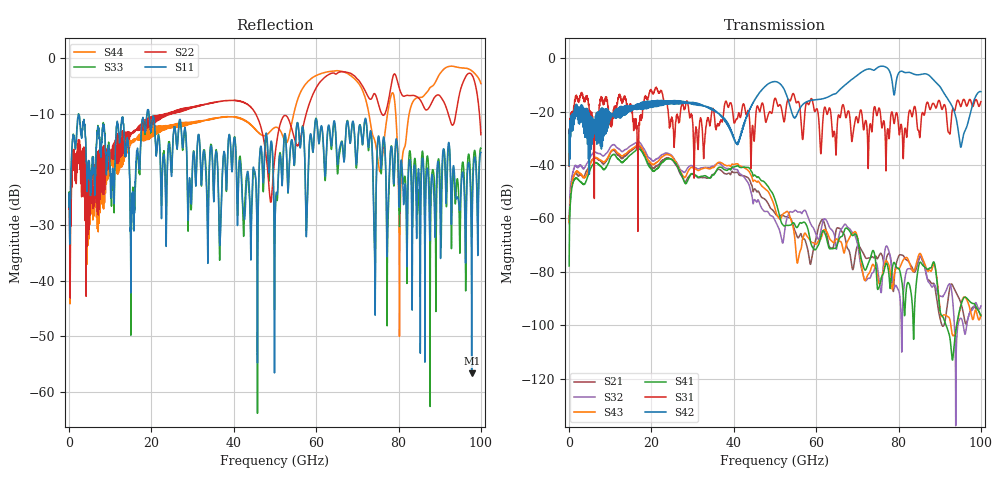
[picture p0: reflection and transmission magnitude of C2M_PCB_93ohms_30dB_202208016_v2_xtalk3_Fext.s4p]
! Info: Touchstone file created by Circ.  Input file=Intel_C2M_200G_13p5in_202208016_staggered.circ
# Hz S RI R 50
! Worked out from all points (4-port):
!   10000 points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, 10 MHz to 100 GHz, reference 50 ohm
!   strongest paths, dB at 10 MHz, 25.01 GHz, 50.01 GHz, 75.01 GHz, 100 GHz:
!     S42: -40.2, -16.8, -8.7, -3.4, -12.5
!     S31: -40.4, -23.2, -15.0, -19.7, -16.2
!     S41: -77.8, -38.0, -52.9, -86.5, -96.4
!     S43: -61.4, -36.8, -56.2, -82.7, -96.1
!     S32: -62.0, -36.5, -60.8, -79.6, -92.7
!     S21: -59.4, -38.0, -58.0, -74.8, -96.7
!   lowest |S11| = -56.6 dB at 97.76 GHz (marker M1), VSWR 1.00, Z = 50.1 - j0.0533 ohm
!   |S11| at or under -10 dB: start of sweep to 18.94 GHz; 19.37 GHz to end of sweep
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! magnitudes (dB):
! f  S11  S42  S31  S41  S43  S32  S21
! 10 MHz  -26.8  -40.2  -40.4  -77.8  -61.4  -62.0  -59.4
! 1.44 GHz  -15.3  -22.7  -16.1  -45.1  -43.3  -40.5  -43.2
! 16.9 GHz  -18.8  -17.1  -30.3  -33.9  -32.5  -31.3  -32.9
! 66.35 GHz  -15.5  -10.9  -17.7  -66.6  -70.3  -63.5  -65.2
! 80.35 GHz  -22.1  -5.0  -27.0  -79.8  -78.3  -89.5  -73.6
! 97.76 GHz  -56.6  -18.5  -17.0  -91.7  -96.6  -94.4  -93.7
! 100 GHz  -16.9  -12.5  -16.2  -96.4  -96.1  -92.7  -96.7
